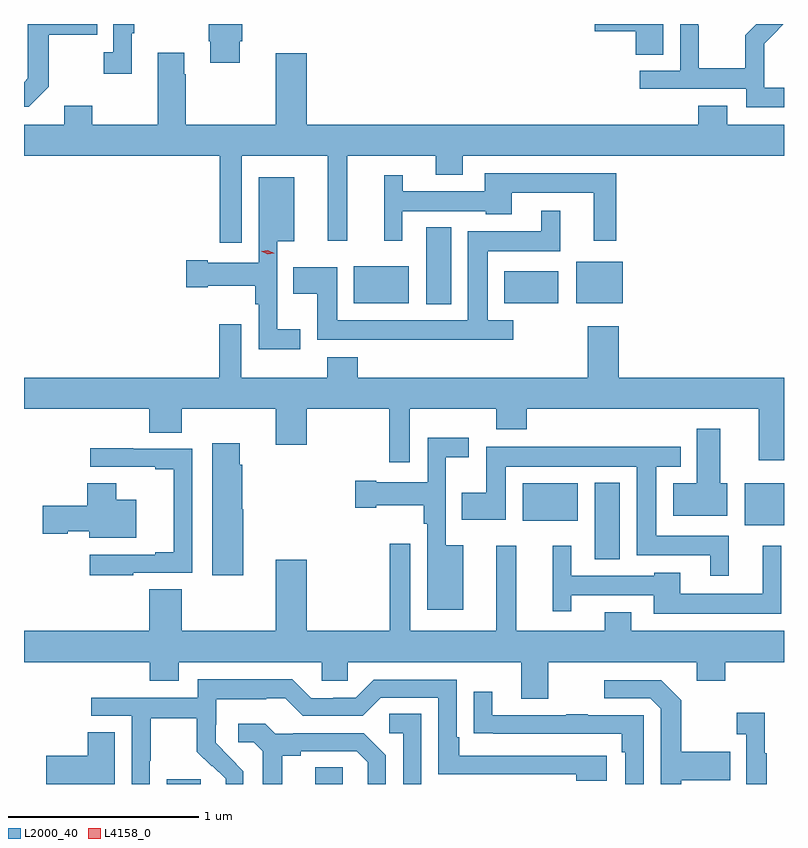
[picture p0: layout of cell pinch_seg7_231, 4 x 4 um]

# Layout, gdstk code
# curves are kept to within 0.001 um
import gdstk
lib = gdstk.Library(unit=1e-6, precision=1e-09)
def R(c, l, rs):  # rectangles x0, y0, x1, y1
    for r in rs: c.add(gdstk.rectangle(r[:2], r[2:], *l))
def P(c, l, *ps):  # polygons
    for p in ps: c.add(gdstk.Polygon(p, *l))
L2000_40 = (2000, 40)
L4158_0 = (4158, 0)

pinch_seg7_231 = lib.new_cell('pinch_seg7_231')
R(pinch_seg7_231, L2000_40, [(763.835,1041.266,764.014,1041.291), (764.615,1041.266,764.76,1041.353), (766.088,1042.448,766.219,1042.852), (766.877,1042.628,767.083,1042.849), (765.707,1042.652,765.997,1042.849), (765.2,1043.792,765.331,1044.196), (764.819,1043.795,765.109,1043.992), (765.611,1043.795,765.895,1043.965), (765.989,1043.795,766.234,1044.016)])
P(pinch_seg7_231, L2000_40, [(766.447,1045.266),(766.086,1045.266),(766.086,1045.228),(766.304,1045.228),(766.304,1045.105),(766.447,1045.105)],
  [(767.083,1044.931),(766.98,1044.931),(766.98,1045.065),(766.978,1045.065),(766.978,1045.162),(767.052,1045.236),(767.051,1045.237),(767.08,1045.266),(766.938,1045.266),(766.879,1045.207),(766.879,1045.033),(766.635,1045.033),(766.635,1045.256),(766.632,1045.256),(766.632,1045.266),(766.536,1045.266),(766.536,1045.02),(766.323,1045.02),(766.323,1044.924),(766.884,1044.924),(766.884,1044.827),(767.083,1044.827)],
  [(764.218,1045.174),(764.231,1045.174),(764.231,1045.266),(764.056,1045.266),(764.056,1045.174),(764.063,1045.174),(764.063,1045.062),(764.218,1045.062)],
  [(763.651,1045.217),(763.663,1045.217),(763.663,1045.266),(763.554,1045.266),(763.554,1045.118),(763.503,1045.118),(763.503,1045.005),(763.651,1045.005)],
  [(763.213,1044.937),(763.213,1045.21),(763.469,1045.21),(763.469,1045.266),(763.104,1045.266),(763.104,1044.981),(763.083,1044.96),(763.083,1044.831),(763.107,1044.831)],
  [(764.572,1045.111),(764.408,1045.111),(764.408,1044.736),(763.935,1044.736),(763.935,1045.001),(763.927,1045.001),(763.927,1045.114),(763.787,1045.114),(763.787,1044.736),(763.443,1044.736),(763.443,1044.835),(763.295,1044.835),(763.295,1044.736),(763.083,1044.736),(763.083,1044.572),(764.113,1044.572),(764.113,1044.114),(764.229,1044.114),(764.229,1044.572),(764.681,1044.572),(764.681,1044.126),(764.785,1044.126),(764.785,1044.572),(765.251,1044.572),(765.251,1044.473),(765.391,1044.473),(765.391,1044.572),(767.083,1044.572),(767.083,1044.736),(766.783,1044.736),(766.783,1044.835),(766.631,1044.835),(766.631,1044.736),(764.572,1044.736)],
  [(765.075,1044.281),(765.513,1044.281),(765.513,1044.266),(765.649,1044.266),(765.649,1044.377),(766.082,1044.377),(766.082,1044.126),(766.199,1044.126),(766.199,1044.481),(765.509,1044.481),(765.509,1044.385),(765.076,1044.385),(765.076,1044.469),(764.978,1044.469),(764.978,1044.126),(765.075,1044.126)],
  [(764.536,1043.659),(764.415,1043.659),(764.415,1044.122),(764.506,1044.122),(764.506,1044.46),(764.318,1044.46),(764.318,1044.01),(764.05,1044.01),(764.05,1044.023),(763.938,1044.023),(763.938,1043.881),(764.05,1043.881),(764.05,1043.888),(764.299,1043.888),(764.299,1043.792),(764.319,1043.792),(764.319,1043.555),(764.536,1043.555)],
  [(765.658,1043.707),(765.523,1043.707),(765.523,1044.071),(765.905,1044.071),(765.905,1044.283),(765.806,1044.283),(765.806,1044.175),(765.419,1044.175),(765.419,1043.707),(764.731,1043.707),(764.731,1043.986),(764.5,1043.986),(764.5,1043.846),(764.627,1043.846),(764.627,1043.603),(765.658,1043.603)],
  [(765.114,1043.24),(765.568,1043.24),(765.568,1043.132),(765.728,1043.132),(765.728,1043.24),(766.949,1043.24),(766.949,1042.971),(767.083,1042.971),(767.083,1043.404),(766.214,1043.404),(766.214,1043.674),(766.049,1043.674),(766.049,1043.404),(764.84,1043.404),(764.84,1043.512),(764.68,1043.512),(764.68,1043.404),(764.226,1043.404),(764.226,1043.686),(764.11,1043.686),(764.11,1043.404),(763.083,1043.404),(763.083,1043.24),(763.742,1043.24),(763.742,1043.116),(763.913,1043.116),(763.913,1043.24),(764.408,1043.24),(764.408,1043.052),(764.572,1043.052),(764.572,1043.24),(765.006,1043.24),(765.006,1042.959),(765.114,1042.959)],
  [(766.783,1042.849),(766.747,1042.849),(766.747,1043.137),(766.625,1043.137),(766.625,1042.849),(766.499,1042.849),(766.499,1042.679),(766.783,1042.679)],
  [(765.394,1042.522),(765.303,1042.522),(765.303,1042.985),(765.424,1042.985),(765.424,1043.089),(765.207,1043.089),(765.207,1042.855),(764.938,1042.855),(764.938,1042.863),(764.826,1042.863),(764.826,1042.721),(764.938,1042.721),(764.938,1042.733),(765.187,1042.733),(765.187,1042.637),(765.206,1042.637),(765.206,1042.184),(765.394,1042.184)],
  [(764.236,1042.713),(764.231,1042.713),(764.231,1042.946),(764.218,1042.946),(764.218,1043.059),(764.075,1043.059),(764.075,1042.365),(764.236,1042.365)],
  [(766.793,1042.573),(766.411,1042.573),(766.411,1042.937),(766.54,1042.937),(766.54,1043.041),(765.515,1043.041),(765.515,1042.798),(765.388,1042.798),(765.388,1042.658),(765.619,1042.658),(765.619,1042.937),(766.307,1042.937),(766.307,1042.469),(766.694,1042.469),(766.694,1042.362),(766.793,1042.362)],
  [(763.658,1042.377),(763.968,1042.377),(763.968,1043.031),(763.658,1043.031),(763.658,1043.033),(763.431,1043.033),(763.431,1042.935),(763.775,1042.935),(763.775,1042.923),(763.871,1042.923),(763.871,1042.486),(763.775,1042.486),(763.775,1042.473),(763.428,1042.473),(763.428,1042.365),(763.658,1042.365)],
  [(763.675,1042.762),(763.569,1042.762),(763.569,1042.85),(763.415,1042.85),(763.415,1042.73),(763.182,1042.73),(763.182,1042.583),(763.313,1042.583),(763.313,1042.595),(763.427,1042.595),(763.427,1042.562),(763.675,1042.562)],
  [(765.841,1041.908),(766.625,1041.908),(766.625,1041.809),(766.773,1041.809),(766.773,1041.908),(767.083,1041.908),(767.083,1042.072),(766.279,1042.072),(766.279,1042.171),(766.139,1042.171),(766.139,1042.072),(765.673,1042.072),(765.673,1042.519),(765.569,1042.519),(765.569,1042.072),(765.117,1042.072),(765.117,1042.531),(765.009,1042.531),(765.009,1042.072),(764.572,1042.072),(764.572,1042.447),(764.408,1042.447),(764.408,1042.072),(763.913,1042.072),(763.913,1042.292),(763.742,1042.292),(763.742,1042.072),(763.083,1042.072),(763.083,1041.908),(763.745,1041.908),(763.745,1041.809),(763.897,1041.809),(763.897,1041.908),(764.649,1041.908),(764.649,1041.81),(764.787,1041.81),(764.787,1041.908),(765.701,1041.908),(765.701,1041.714),(765.841,1041.714)],
  [(767.068,1042.519),(766.97,1042.519),(766.97,1042.267),(766.537,1042.267),(766.537,1042.378),(766.401,1042.378),(766.401,1042.363),(765.963,1042.363),(765.963,1042.519),(765.866,1042.519),(765.866,1042.176),(765.964,1042.176),(765.964,1042.259),(766.397,1042.259),(766.397,1042.163),(767.068,1042.163)],
  [(763.746,1041.388),(763.749,1041.388),(763.749,1041.612),(763.993,1041.612),(763.993,1041.437),(764.07,1041.36),(764.073,1041.363),(764.144,1041.293),(764.144,1041.266),(764.238,1041.266),(764.238,1041.334),(764.092,1041.482),(764.092,1041.579),(764.094,1041.579),(764.094,1041.713),(764.357,1041.713),(764.357,1041.717),(764.457,1041.717),(764.55,1041.624),(764.865,1041.624),(764.961,1041.72),(765.264,1041.72),(765.264,1041.318),(765.989,1041.318),(765.989,1041.284),(766.15,1041.284),(766.15,1041.414),(765.373,1041.414),(765.373,1041.511),(765.36,1041.511),(765.36,1041.816),(764.925,1041.816),(764.829,1041.72),(764.711,1041.72),(764.711,1041.717),(764.595,1041.717),(764.495,1041.817),(763.998,1041.817),(763.998,1041.72),(763.437,1041.72),(763.437,1041.624),(763.65,1041.624),(763.65,1041.266),(763.746,1041.266)],
  [(766.543,1041.287),(766.799,1041.287),(766.799,1041.435),(766.543,1041.435),(766.543,1041.707),(766.437,1041.813),(766.137,1041.813),(766.137,1041.717),(766.38,1041.717),(766.434,1041.663),(766.434,1041.266),(766.543,1041.266)],
  [(766.344,1041.627),(766.049,1041.627),(766.049,1041.632),(765.937,1041.632),(765.937,1041.627),(765.547,1041.627),(765.547,1041.751),(765.451,1041.751),(765.451,1041.532),(765.553,1041.532),(765.553,1041.531),(766.228,1041.531),(766.228,1041.434),(766.248,1041.434),(766.248,1041.266),(766.344,1041.266)],
  [(766.993,1041.427),(766.981,1041.427),(766.981,1041.64),(766.833,1041.64),(766.833,1041.527),(766.884,1041.527),(766.884,1041.266),(766.993,1041.266)],
  [(765.174,1041.635),(765.006,1041.635),(765.006,1041.534),(765.078,1041.534),(765.078,1041.266),(765.174,1041.266)],
  [(764.443,1041.416),(764.539,1041.416),(764.539,1041.438),(764.834,1041.438),(764.891,1041.381),(764.891,1041.266),(764.988,1041.266),(764.988,1041.418),(764.872,1041.534),(764.5,1041.534),(764.5,1041.531),(764.406,1041.531),(764.354,1041.583),(764.211,1041.583),(764.211,1041.486),(764.292,1041.486),(764.339,1041.439),(764.339,1041.266),(764.443,1041.266)],
  [(763.561,1041.539),(763.418,1041.539),(763.418,1041.416),(763.2,1041.416),(763.2,1041.266),(763.561,1041.266)])
P(pinch_seg7_231, L4158_0, [(764.365,1044.055),(764.331,1044.069),(764.331,1044.07),(764.331,1044.07),(764.367,1044.075),(764.401,1044.06),(764.401,1044.06),(764.401,1044.06)])

lib.write_gds('pinch_seg7_231.gds')
